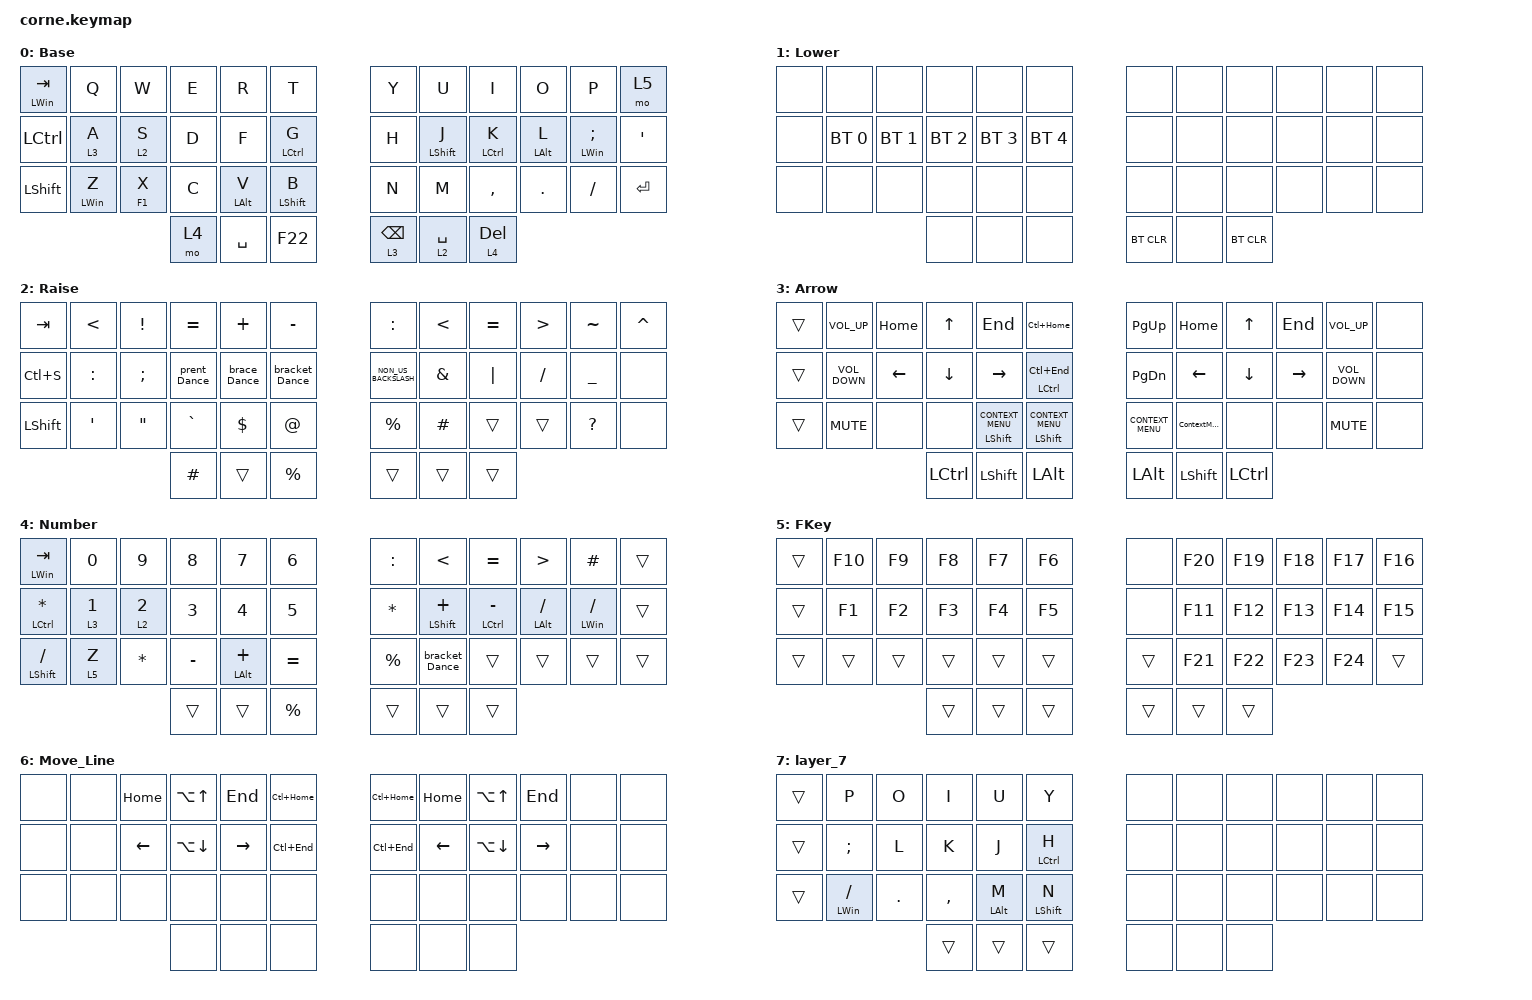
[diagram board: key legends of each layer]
/*
 * Copyright (c) 2020 The ZMK Contributors
 *
 * SPDX-License-Identifier: MIT
 */

#include <behaviors.dtsi>
#include <dt-bindings/zmk/bt.h>
#include <dt-bindings/zmk/keys.h>

/ {
    combos {
        compatible = "zmk,combos";

        Esc_Key {
            bindings = <&kp ESCAPE>;
            key-positions = <14 15>;
        };

        Print_Screen {
            bindings = <&kp RC(PRINTSCREEN)>;
            key-positions = <38 17>;
        };

        Enter_Key {
            bindings = <&kp ENTER>;
            key-positions = <15 16>;
        };

        bluetooth_Layer {
            bindings = <&mo 1>;
            key-positions = <7 8 9>;
        };

        Comma {
            bindings = <&kp COMMA>;
            key-positions = <2 3>;
        };

        S_Underscore {
            bindings = <&kp UNDERSCORE>;
            key-positions = <3 4>;
        };

        S_Question_Mark {
            bindings = <&kp QMARK>;
            key-positions = <3 16>;
        };

        Ampersand {
            bindings = <&kp AMPERSAND>;
            key-positions = <15 28>;
        };

        Pipe {
            bindings = <&kp PIPE>;
            key-positions = <16 29>;
        };

        Duble_Quotes {
            bindings = <&kp DOUBLE_QUOTES>;
            key-positions = <14 16>;
        };

        Single_Quote {
            bindings = <&kp SINGLE_QUOTE>;
            key-positions = <15 17>;
        };

        Semicolon {
            bindings = <&kp SEMICOLON>;
            key-positions = <2 4>;
        };

        Exclamaion {
            bindings = <&kp EXCLAMATION>;
            key-positions = <13 14>;
        };

        Minus {
            bindings = <&kp COLON>;
            key-positions = <27 28>;
        };

        Period {
            bindings = <&kp PERIOD>;
            key-positions = <2 3 4>;
        };

        Enter_R {
            bindings = <&mt LS(LCTRL) ENTER>;
            key-positions = <19 20>;
        };

        Esc_R {
            bindings = <&mt LA(LCTRL) ESC>;
            key-positions = <20 21>;
        };

        Lan {
            bindings = <&kp F18>;
            key-positions = <38 39>;
        };

        SemiColon_R {
            bindings = <&kp SEMICOLON>;
            key-positions = <32 33>;
        };

        Fast_Type {
            bindings = <&kp F13>;
            key-positions = <37 40>;
        };

        Mirror_Right_Side {
            bindings = <&mo 7>;
            key-positions = <37 38>;
        };

        Caps_Word_Behavior {
            bindings = <&caps_word>;
            key-positions = <5 6>;
        };

        Alt_LineMove {
            bindings = <&mo 6>;
            key-positions = <13 38>;
        };

        Tab_L {
            bindings = <&kp TAB>;
            key-positions = <16 17>;
        };

        Tab_R {
            bindings = <&kp TAB>;
            key-positions = <18 19>;
        };

        Alt+Shift {
            bindings = <&mt LA(LEFT_SHIFT) GRAVE>;
            key-positions = <19 21>;
        };

        Shift+Alt+Ctrl {
            bindings = <&kp LS(LC(LEFT_ALT))>;
            key-positions = <19 20 21>;
        };

        backspace {
            bindings = <&kp BACKSPACE>;
            key-positions = <2 15>;
        };

        delete {
            bindings = <&kp DELETE>;
            key-positions = <4 17>;
        };

        Scave {
            bindings = <&kp LC(S)>;
            key-positions = <12 14>;
        };

        Refresh {
            bindings = <&kp F5>;
            key-positions = <26 27>;
        };

        Code-symb {
            bindings = <&kp GRAVE>;
            key-positions = <14 27>;
        };

        Arrow_Macro {
            bindings = <&macro_arrow>;
            key-positions = <5 9>;
        };
    };

    behaviors {
        hmr: hmr {
            compatible = "zmk,behavior-hold-tap";
            label = "HMR";
            bindings = <&kp>, <&kp>;

            #binding-cells = <2>;
            hold-trigger-key-positions = <0 1 2 3 4 5 12 13 14 15 16 17 24 25 26 27 28 29 36 37 38>;
            tapping-term-ms = <140>;
            flavor = "balanced";
        };

        prent_Dance: prent_Dance {
            compatible = "zmk,behavior-tap-dance";
            label = "PRENT_DANCE";
            #binding-cells = <0>;
            bindings = <&kp LEFT_PARENTHESIS>, <&kp RIGHT_PARENTHESIS>;

            tapping-term-ms = <220>;
        };

        brace_Dance: brace_Dance {
            compatible = "zmk,behavior-tap-dance";
            label = "BRACE_DANCE";
            #binding-cells = <0>;
            bindings = <&kp LEFT_BRACE>, <&kp RIGHT_BRACE>;

            tapping-term-ms = <220>;
        };

        bracket_Dance: bracket_Dance {
            compatible = "zmk,behavior-tap-dance";
            label = "BRACKET_DANCE";
            #binding-cells = <0>;
            bindings = <&kp LEFT_BRACKET>, <&kp RIGHT_BRACKET>;

            tapping-term-ms = <220>;
        };

        fast_Layer_Switch: fast_Layer_Switch {
            compatible = "zmk,behavior-hold-tap";
            label = "FAST_LAYER_SWITCH";
            bindings = <&kp>, <&kp>;

            #binding-cells = <2>;
            hold-trigger-key-positions = <0 1 2 3 4 5 12 13 14 15 16 17 24 25 26 27 28 29 36 37 38 6 7 8 9 10 11 18 19 20 21 22 23 30 31 32 33 34 35 40 41 39>;
            tapping-term-ms = <55>;
            flavor = "balanced";
        };

        Symbols_behavior: Symbols_behavior {
            compatible = "zmk,behavior-hold-tap";
            label = "SYMBOLS_BEHAVIOR";
            bindings = <&mo>, <&kp>;

            #binding-cells = <2>;
            tapping-term-ms = <150>;
            flavor = "balanced";
        };

        alt_behavior: alt_behavior {
            compatible = "zmk,behavior-hold-tap";
            label = "ALT_BEHAVIOR";
            bindings = <&kp>, <&kp>;

            #binding-cells = <2>;
            tapping-term-ms = <130>;
            flavor = "balanced";
        };

        ctrl_behavior: ctrl_behavior {
            compatible = "zmk,behavior-hold-tap";
            label = "CTRL_BEHAVIOR";
            bindings = <&kp>, <&kp>;

            #binding-cells = <2>;
            tapping-term-ms = <130>;
            flavor = "balanced";
        };

        shift_behavior: shift_behavior {
            compatible = "zmk,behavior-hold-tap";
            label = "SHIFT_BEHAVIOR";
            bindings = <&kp>, <&kp>;

            #binding-cells = <2>;
            tapping-term-ms = <130>;
            flavor = "balanced";
        };
    };

    macros {
        ContextMenu: ContextMenu {
            compatible = "zmk,behavior-macro";
            #binding-cells = <0>;
            bindings = <&kp LS(F10)>, <&macro_wait_time 55>, <&kp HOME>;

            label = "CONTEXTMENU";
        };

        macro_arrow: macro_arrow {
            compatible = "zmk,behavior-macro";
            #binding-cells = <0>;
            bindings = <&kp MINUS &kp MINUS &kp GREATER_THAN &kp SPACE>;
            label = "MACRO_ARROW";
        };
    };

    keymap {
        compatible = "zmk,keymap";

        default_layer {
            // -----------------------------------------------------------------------------------------
            // |  TAB |  Q  |  W  |  E  |  R  |  T  |   |  Y  |  U   |  I  |  O  |  P  | BKSP |
            // | CTRL |  A  |  S  |  D  |  F  |  G  |   |  H  |  J   |  K  |  L  |  ;  |  '   |
            // | SHFT |  Z  |  X  |  C  |  V  |  B  |   |  N  |  M   |  ,  |  .  |  /  | ESC  |
            //                    | GUI | LWR | SPC |   | ENT | RSE  | ALT |

            display-name = "Base";
            bindings = <
&mt LEFT_WIN TAB  &kp Q           &kp W                  &kp E  &kp R                     &kp T                       &kp Y            &kp U                      &kp I         &kp O            &kp P                    &mo 5
&kp LCTRL         &lt 3 A         &Symbols_behavior 2 S  &kp D  &kp F                     &ctrl_behavior LCTRL G      &kp H            &hmr LEFT_SHIFT J          &hmr LCTRL K  &hmr LEFT_ALT L  &hmr LEFT_WIN SEMICOLON  &kp SINGLE_QUOTE
&kp LSHIFT        &mt LEFT_WIN Z  &mt F1 X               &kp C  &alt_behavior LEFT_ALT V  &shift_behavior LSHIFT B    &kp N            &kp M                      &kp COMMA     &kp DOT          &kp FSLH                 &kp ENTER
                                                         &mo 4  &kp SPACE                 &kp F22                     &lt 3 BACKSPACE  &Symbols_behavior 2 SPACE  &lt 4 DELETE
            >;
        };

        Bluetooth {
            // -----------------------------------------------------------------------------------------
            // |  TAB |  1  |  2  |  3  |  4  |  5  |   |  6  |  7  |  8  |  9  |  0  | BKSP |
            // | BTCLR| BT1 | BT2 | BT3 | BT4 | BT5 |   | LFT | DWN |  UP | RGT |     |      |
            // | SHFT |     |     |     |     |     |   |     |     |     |     |     |      |
            //                    | GUI |     | SPC |   | ENT |     | ALT |

            display-name = "Lower";
            bindings = <
&none  &none         &none         &none         &none         &none           &none       &none  &none       &none  &none  &none
&none  &bt BT_SEL 0  &bt BT_SEL 1  &bt BT_SEL 2  &bt BT_SEL 3  &bt BT_SEL 4    &none       &none  &none       &none  &none  &none
&none  &none         &none         &none         &none         &none           &none       &none  &none       &none  &none  &none
                                   &none         &none         &none           &bt BT_CLR  &none  &bt BT_CLR
            >;
        };

        Symbol {
            // -----------------------------------------------------------------------------------------
            // |  TAB |  !  |  @  |  #  |  $  |  %  |   |  ^  |  &  |  *  |  (  |  )  | BKSP |
            // | CTRL |     |     |     |     |     |   |  -  |  =  |  [  |  ]  |  \  |  `   |
            // | SHFT |     |     |     |     |     |   |  _  |  +  |  {  |  }  | "|" |  ~   |
            //                    | GUI |     | SPC |   | ENT |     | ALT |

            display-name = "Raise";
            bindings = <
&kp TAB         &kp LESS_THAN  &kp EXCLAMATION    &kp EQUAL     &kp PLUS      &kp MINUS         &kp COLON             &kp LESS_THAN  &kp EQUAL  &kp GREATER_THAN  &kp TILDE       &kp CARET
&kp LC(S)       &kp COLON      &kp SEMICOLON      &prent_Dance  &brace_Dance  &bracket_Dance    &kp NON_US_BACKSLASH  &kp AMPERSAND  &kp PIPE   &kp SLASH         &kp UNDERSCORE  &none
&kp LEFT_SHIFT  &kp SQT        &kp DOUBLE_QUOTES  &kp GRAVE     &kp DOLLAR    &kp AT_SIGN       &kp PERCENT           &kp HASH       &trans     &trans            &kp QUESTION    &none
                                                  &kp HASH      &trans        &kp PERCENT       &trans                &trans         &trans
            >;
        };

        Arrow {
            bindings = <
&trans  &kp C_VOLUME_UP    &kp HOME  &kp UP     &kp END                                    &kp LC(HOME)                                 &kp PAGE_UP         &kp HOME        &kp UP_ARROW    &kp END    &kp C_VOLUME_UP    &none
&trans  &kp C_VOLUME_DOWN  &kp LEFT  &kp DOWN   &kp RIGHT                                  &ctrl_behavior LCTRL LC(END)                 &kp PAGE_DOWN       &kp LEFT_ARROW  &kp DOWN_ARROW  &kp RIGHT  &kp C_VOLUME_DOWN  &none
&trans  &kp C_MUTE         &none     &none      &shift_behavior LEFT_SHIFT K_CONTEXT_MENU  &shift_behavior LEFT_SHIFT K_CONTEXT_MENU    &kp K_CONTEXT_MENU  &ContextMenu    &none           &none      &kp C_MUTE         &none
                                     &kp LCTRL  &kp LEFT_SHIFT                             &kp LEFT_ALT                                 &kp LEFT_ALT        &kp LEFT_SHIFT  &kp LCTRL
            >;
        };

        Number {
            bindings = <
&mt LEFT_WIN TAB      &kp N0          &kp N9                        &kp N8     &kp N7             &kp N6          &kp COLON     &kp LESS_THAN        &kp EQUAL        &kp GREATER_THAN    &kp HASH            &trans
&mt LCTRL ASTERISK    &lt 3 NUMBER_1  &Symbols_behavior 2 NUMBER_2  &kp N3     &kp N4             &kp NUMBER_5    &kp ASTERISK  &mt LEFT_SHIFT PLUS  &mt LCTRL MINUS  &mt LEFT_ALT SLASH  &mt LEFT_WIN SLASH  &trans
&mt LEFT_SHIFT SLASH  &lt 5 Z         &kp ASTERISK                  &kp MINUS  &mt LEFT_ALT PLUS  &kp EQUAL       &kp PERCENT   &bracket_Dance       &trans           &trans              &trans              &trans
                                                                    &trans     &trans             &kp PERCENT     &trans        &trans               &trans
            >;
        };

        FKey {
            bindings = <
&trans  &kp F10  &kp F9  &kp F8  &kp F7  &kp F6    &none   &kp F20  &kp F19  &kp F18  &kp F17  &kp F16
&trans  &kp F1   &kp F2  &kp F3  &kp F4  &kp F5    &none   &kp F11  &kp F12  &kp F13  &kp F14  &kp F15
&trans  &trans   &trans  &trans  &trans  &trans    &trans  &kp F21  &kp F22  &kp F23  &kp F24  &trans
                         &trans  &trans  &trans    &trans  &trans   &trans
            >;
        };

        Move_Line {
            bindings = <
&none  &none  &kp HOME  &kp LA(UP)    &kp END    &kp LC(HOME)    &kp LC(HOME)  &kp HOME  &kp LA(UP)    &kp END    &none  &none
&none  &none  &kp LEFT  &kp LA(DOWN)  &kp RIGHT  &kp LC(END)     &kp LC(END)   &kp LEFT  &kp LA(DOWN)  &kp RIGHT  &none  &none
&none  &none  &none     &none         &none      &none           &none         &none     &none         &none      &none  &none
                        &none         &none      &none           &none         &none     &none
            >;
        };

        layer_7 {
            bindings = <
&trans  &kp P           &kp O    &kp I      &kp U                     &kp Y                           &none  &none  &none  &none  &none  &none
&trans  &kp SEMI        &kp L    &kp K      &kp J                     &ctrl_behavior LCTRL H          &none  &none  &none  &none  &none  &none
&trans  &mt LWIN SLASH  &kp DOT  &kp COMMA  &alt_behavior LEFT_ALT M  &shift_behavior LEFT_SHIFT N    &none  &none  &none  &none  &none  &none
                                 &trans     &trans                    &trans                          &none  &none  &none
            >;
        };
    };
};
